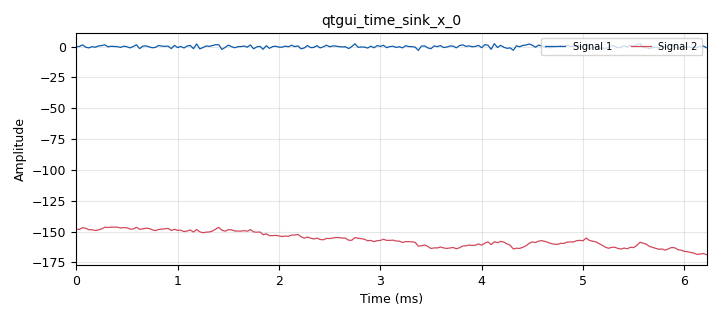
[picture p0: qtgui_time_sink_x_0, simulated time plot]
options:
  parameters:
    author: Brayan David
    generate_options: qt_gui
    id: practica_1_brayan
    output_language: python
    title: Practica 1 - Bloques Python
  states: {}

blocks:
- name: samp_rate
  id: variable
  parameters:
    value: '32000'
  states: {}
- name: blocks_throttle2_0_0
  id: blocks_throttle2
  parameters:
    samples_per_second: samp_rate
    type: float
  states: {}
- name: blocks_vector_source_x_0
  id: blocks_vector_source_x
  parameters:
    repeat: 'True'
    type: float
    vector: np.random.normal(0, 1, 1000)
  states: {}
- name: epy_block_0
  id: epy_block
  parameters:
    _source_code: |-
      import numpy as np
      from gnuradio import gr

      class blk(gr.sync_block):
          def __init__(self):
              gr.sync_block.__init__(
                  self,
                  name='e_Acum',
                  in_sig=[np.float32],
                  out_sig=[np.float32]
              )

          def work(self, input_items, output_items):
              x = input_items[0]
              y0 = output_items[0]

              y0[:] = np.cumsum(x)

              return len(y0)
  states: {}
- name: import_0
  id: import
  parameters:
    imports: import numpy as np
  states: {}
- name: qtgui_time_sink_x_0
  id: qtgui_time_sink_x
  parameters:
    autoscale: 'True'
    color1: dark green
    nconnections: '2'
    size: '200'
    srate: samp_rate
    type: float
  states: {}

connections:
- [blocks_throttle2_0_0, '0', qtgui_time_sink_x_0, '1']
- [blocks_vector_source_x_0, '0', epy_block_0, '0']
- [blocks_vector_source_x_0, '0', qtgui_time_sink_x_0, '0']
- [epy_block_0, '0', blocks_throttle2_0_0, '0']

metadata:
  file_format: 1
  grc_version: 3.10.12.0
